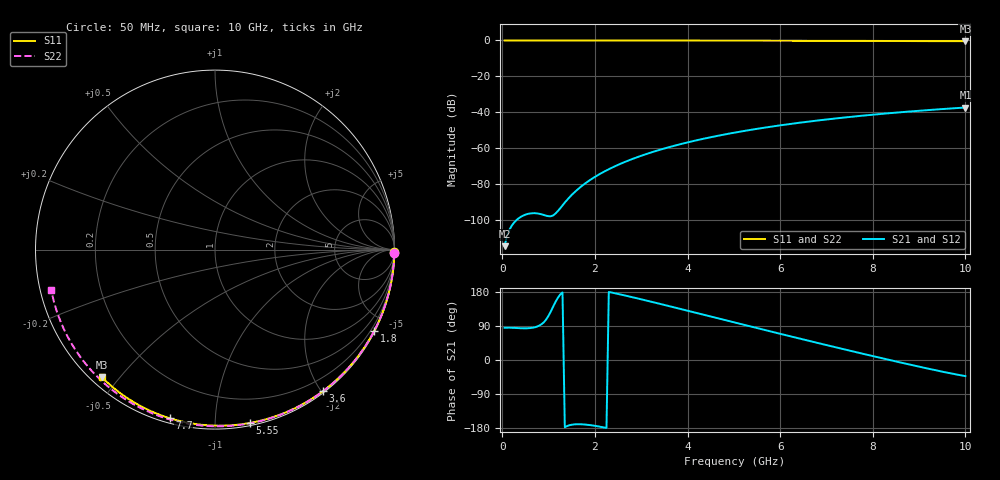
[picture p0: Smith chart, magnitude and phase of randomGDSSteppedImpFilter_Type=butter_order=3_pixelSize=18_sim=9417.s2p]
! freq	dB(S11)	phase(S11)	dB(S12)	phase(S12)
!  dB(S21)	phase(S21)	dB(S22)	phase(S22)
!S-par simulation data
#  GHz  S  DB  R 50
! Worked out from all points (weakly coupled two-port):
!   200 points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, 50 MHz to 10 GHz, reference 50 ohm
!   highest |S21| = -37.41 dB at 10 GHz (marker M1); lowest = -114.7 dB at 50 MHz (marker M2)
!   lowest |S11| = -0.4 dB at 10 GHz (marker M3), VSWR 39.01, Z = 1.54 - j22.5 ohm
!   |S11| at or under -10 dB: nowhere
!   |S22| runs from -0.5 to 0.0 dB; largest |S21 - S12| = 0
!   S11 on the Smith chart (normalised r, x): 50 MHz: open; 1.8 GHz: 0.04, -4.17; 3.6 GHz: 0.02, -2.02; 5.55 GHz: 0.02, -1.22; 7.7 GHz: 0.02, -0.77; 10 GHz: 0.03, -0.45
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0.05  -0.01 -0.8  -114.74 85.0  -114.74 85.0  -0.01 -1.0
0.45  -0.01 -6.8  -97.70 83.6  -97.70 83.6  -0.01 -8.6
0.85  -0.02 -12.8  -96.99 94.7  -96.99 94.7  -0.02 -16.3
1.3  -0.02 -19.6  -91.98 178.3  -91.98 178.3  -0.03 -24.8
1.75  -0.03 -26.2  -80.51 -169.9  -80.51 -169.9  -0.04 -33.2
1.8  -0.03 -26.9  -79.55 -170.4  -79.55 -170.4  -0.04 -34.1
1.95  -0.04 -29.1  -76.91 -172.7  -76.91 -172.7  -0.05 -36.9
2.1  -0.04 -31.3  -74.57 -175.7  -74.57 -175.7  -0.05 -39.6
2.3  -0.04 -34.2  -71.82 179.5  -71.82 179.5  -0.06 -43.3
2.5  -0.05 -37.1  -69.39 174.3  -69.39 174.3  -0.06 -46.9
2.9  -0.06 -42.9  -65.24 163.1  -65.24 163.1  -0.07 -54.0
3.4  -0.07 -49.9  -61.00 148.3  -61.00 148.3  -0.08 -62.8
3.6  -0.07 -52.7  -59.53 142.3  -59.53 142.3  -0.09 -66.2
4.3  -0.09 -62.3  -55.08 120.9  -55.08 120.9  -0.11 -78.0
5.05  -0.11 -72.2  -51.25 98.0  -51.25 98.0  -0.14 -90.2
5.55  -0.13 -78.7  -49.09 82.7  -49.09 82.7  -0.16 -98.1
6.1  -0.15 -85.7  -46.99 66.1  -46.99 66.1  -0.19 -106.7
6.7  -0.18 -93.1  -44.99 48.2  -44.99 48.2  -0.22 -115.8
7.7  -0.24 -105.1  -42.16 18.9  -42.16 18.9  -0.30 -130.7
8.35  -0.29 -112.7  -40.60 0.4  -40.60 0.4  -0.35 -140.4
9.2  -0.36 -122.4  -38.83 -23.0  -38.83 -23.0  -0.44 -153.2
10  -0.45 -131.5  -37.41 -42.5  -37.41 -42.5  -0.54 -166.2
